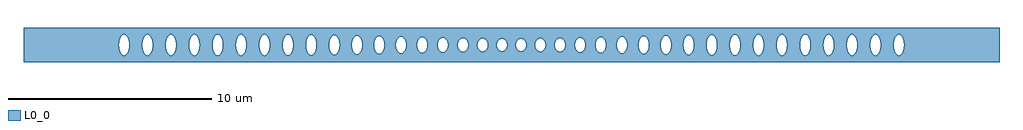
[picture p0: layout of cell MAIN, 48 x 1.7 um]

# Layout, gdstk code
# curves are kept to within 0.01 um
import gdstk
lib = gdstk.Library(unit=1e-6, precision=1e-09)
def P(c, l, *ps):  # polygons
    for p in ps: c.add(gdstk.Polygon(p, *l))
L0_0 = (0, 0)

main = lib.new_cell('MAIN')
P(main, L0_0, [(-19.141,-0.487),(-19.205,-0.417),(-19.262,-0.296),(-19.262,-0.85),(-19.141,-0.85)],
  [(-19.135,0.492),(-19.066,0.52),(-18.987,0.505),(-18.914,0.442),(-18.854,0.337),(-18.854,0.85),(-19.141,0.85)],
  [(-18.854,-0.337),(-18.914,-0.442),(-18.987,-0.505),(-19.066,-0.52),(-19.141,-0.487),(-19.141,-0.85),(-18.854,-0.85)],
  [(24,0.85),(19.262,0.85),(19.262,0.296),(19.295,0.165),(19.308,0.019),(19.297,-0.152),(19.262,-0.296),(19.262,-0.85),(24,-0.85)],
  [(-18.125,0.253),(-18.074,0.384),(-18.002,0.478),(-17.931,0.517),(-17.862,0.515),(-17.862,0.85),(-18.126,0.85)],
  [(-17.862,-0.515),(-17.947,-0.512),(-18.025,-0.455),(-18.083,-0.366),(-18.126,-0.247),(-18.126,-0.85),(-17.862,-0.85)],
  [(-17.648,0.85),(-17.862,0.85),(-17.862,0.515),(-17.777,0.458),(-17.716,0.366),(-17.67,0.236),(-17.648,0.109)],
  [(-17.648,-0.109),(-17.67,-0.236),(-17.716,-0.366),(-17.777,-0.458),(-17.862,-0.515),(-17.862,-0.85),(-17.648,-0.85)],
  [(-18.157,0.006),(-18.126,0.247),(-18.126,0.85),(-18.854,0.85),(-18.854,0.337),(-18.81,0.189),(-18.793,0)],
  [(-16.882,0.445),(-16.812,0.505),(-16.733,0.52),(-16.661,0.49),(-16.594,0.417),(-16.594,0.85),(-16.887,0.85)],
  [(-16.594,-0.417),(-16.661,-0.49),(-16.733,-0.52),(-16.812,-0.505),(-16.887,-0.438),(-16.887,-0.85),(-16.594,-0.85)],
  [(-17.006,0.006),(-16.971,0.264),(-16.887,0.438),(-16.887,0.85),(-17.648,0.85),(-17.642,0)],
  [(-15.844,0.152),(-15.817,0.275),(-15.76,0.405),(-15.694,0.483),(-15.617,0.519),(-15.617,0.85),(-15.845,0.85)],
  [(-15.617,-0.519),(-15.694,-0.483),(-15.76,-0.405),(-15.817,-0.275),(-15.845,-0.146),(-15.845,-0.85),(-15.617,-0.85)],
  [(-15.611,0.52),(-15.541,0.508),(-15.467,0.449),(-15.408,0.352),(-15.363,0.212),(-15.363,0.85),(-15.617,0.85)],
  [(-15.363,-0.212),(-15.408,-0.352),(-15.467,-0.449),(-15.541,-0.508),(-15.617,-0.519),(-15.617,-0.85),(-15.363,-0.85)],
  [(-15.855,0.006),(-15.845,0.85),(-16.594,0.85),(-16.594,0.417),(-16.516,0.224),(-16.491,0)],
  [(-14.626,0.375),(-14.567,0.461),(-14.495,0.512),(-14.415,0.517),(-14.339,0.472),(-14.339,0.85),(-14.628,0.85)],
  [(-14.339,-0.472),(-14.415,-0.517),(-14.495,-0.512),(-14.567,-0.461),(-14.628,-0.37),(-14.628,-0.85),(-14.339,-0.85)],
  [(-14.705,0.006),(-14.685,0.201),(-14.628,0.37),(-14.628,0.85),(-15.363,0.85),(-15.363,0.212),(-15.341,0)],
  [(-13.553,0.045),(-13.539,0.177),(-13.497,0.327),(-13.438,0.435),(-13.369,0.5),(-13.369,0.85),(-13.553,0.85)],
  [(-13.369,-0.5),(-13.438,-0.435),(-13.499,-0.322),(-13.539,-0.177),(-13.553,-0.039),(-13.553,-0.85),(-13.369,-0.85)],
  [(-13.363,0.503),(-13.281,0.52),(-13.209,0.49),(-13.142,0.417),(-13.089,0.307),(-13.089,0.85),(-13.369,0.85)],
  [(-13.089,-0.307),(-13.142,-0.417),(-13.209,-0.49),(-13.296,-0.521),(-13.369,-0.5),(-13.369,-0.85),(-13.089,-0.85)],
  [(-13.554,0.006),(-13.553,0.85),(-14.339,0.85),(-14.339,0.472),(-14.273,0.384),(-14.23,0.28),(-14.198,0.134),(-14.19,0)],
  [(-12.361,0.286),(-12.308,0.405),(-12.242,0.483),(-12.162,0.52),(-12.089,0.508),(-12.089,0.85),(-12.362,0.85)],
  [(-12.089,-0.508),(-12.168,-0.519),(-12.248,-0.478),(-12.308,-0.405),(-12.362,-0.28),(-12.362,-0.85),(-12.089,-0.85)],
  [(-11.891,0.85),(-12.089,0.85),(-12.089,0.508),(-12.023,0.458),(-11.962,0.366),(-11.913,0.224),(-11.891,0.071)],
  [(-11.891,-0.071),(-11.913,-0.224),(-11.962,-0.366),(-12.023,-0.458),(-12.089,-0.508),(-12.089,-0.85),(-11.891,-0.85)],
  [(-12.403,0.006),(-12.394,0.14),(-12.362,0.28),(-12.362,0.85),(-13.089,0.85),(-13.089,0.307),(-13.052,0.165),(-13.039,0)],
  [(-11.11,0.461),(-11.047,0.506),(-10.968,0.514),(-10.888,0.47),(-10.824,0.386),(-10.824,0.85),(-11.116,0.85)],
  [(-10.824,-0.386),(-10.888,-0.47),(-10.968,-0.514),(-11.047,-0.506),(-11.116,-0.456),(-11.116,-0.85),(-10.824,-0.85)],
  [(-11.252,0.006),(-11.22,0.252),(-11.171,0.377),(-11.116,0.456),(-11.116,0.85),(-11.891,0.85),(-11.888,0)],
  [(-10.086,0.192),(-10.045,0.327),(-9.992,0.42),(-9.919,0.486),(-9.835,0.504),(-9.835,0.85),(-10.088,0.85)],
  [(-9.835,-0.504),(-9.919,-0.486),(-9.992,-0.42),(-10.045,-0.327),(-10.088,-0.186),(-10.088,-0.85),(-9.835,-0.85)],
  [(-9.602,0.85),(-9.835,0.85),(-9.835,0.504),(-9.754,0.47),(-9.694,0.405),(-9.636,0.287),(-9.602,0.144)],
  [(-9.602,-0.144),(-9.636,-0.287),(-9.694,-0.405),(-9.754,-0.47),(-9.835,-0.504),(-9.835,-0.85),(-9.602,-0.85)],
  [(-10.106,0.006),(-10.088,0.186),(-10.088,0.85),(-10.824,0.85),(-10.824,0.386),(-10.757,0.2),(-10.737,0)],
  [(-8.856,0.406),(-8.782,0.471),(-8.704,0.488),(-8.62,0.455),(-8.56,0.392),(-8.56,0.85),(-8.862,0.85)],
  [(-8.56,-0.392),(-8.617,-0.453),(-8.704,-0.488),(-8.782,-0.471),(-8.862,-0.399),(-8.862,-0.85),(-8.56,-0.85)],
  [(-8.971,0.006),(-8.937,0.244),(-8.862,0.399),(-8.862,0.85),(-9.602,0.85),(-9.591,0)],
  [(-7.84,0.153),(-7.798,0.291),(-7.742,0.386),(-7.669,0.448),(-7.589,0.466),(-7.589,0.85),(-7.841,0.85)],
  [(-7.589,-0.466),(-7.669,-0.448),(-7.742,-0.386),(-7.798,-0.291),(-7.841,-0.147),(-7.841,-0.85),(-7.589,-0.85)],
  [(-7.347,0.85),(-7.589,0.85),(-7.589,0.466),(-7.498,0.431),(-7.434,0.362),(-7.384,0.264),(-7.347,0.115)],
  [(-7.347,-0.115),(-7.384,-0.264),(-7.434,-0.362),(-7.498,-0.431),(-7.589,-0.466),(-7.589,-0.85),(-7.347,-0.85)],
  [(-7.854,0.003),(-7.841,0.147),(-7.841,0.85),(-8.56,0.85),(-8.56,0.392),(-8.484,0.222),(-8.456,0)],
  [(-6.625,0.389),(-6.561,0.431),(-6.471,0.439),(-6.383,0.392),(-6.317,0.306),(-6.317,0.85),(-6.631,0.85)],
  [(-6.317,-0.306),(-6.383,-0.392),(-6.475,-0.44),(-6.561,-0.431),(-6.631,-0.383),(-6.631,-0.85),(-6.317,-0.85)],
  [(-6.76,0.006),(-6.729,0.211),(-6.686,0.311),(-6.631,0.383),(-6.631,0.85),(-7.347,0.85),(-7.339,0)],
  [(-5.65,0.224),(-5.591,0.33),(-5.519,0.393),(-5.417,0.416),(-5.344,0.391),(-5.344,0.85),(-5.652,0.85)],
  [(-5.344,-0.391),(-5.417,-0.416),(-5.519,-0.393),(-5.591,-0.33),(-5.652,-0.219),(-5.652,-0.85),(-5.344,-0.85)],
  [(-5.691,0.006),(-5.652,0.219),(-5.652,0.85),(-6.317,0.85),(-6.317,0.306),(-6.264,0.168),(-6.245,0)],
  [(-4.645,0.061),(-4.612,0.202),(-4.557,0.299),(-4.478,0.368),(-4.398,0.39),(-4.398,0.85),(-4.646,0.85)],
  [(-4.398,-0.39),(-4.478,-0.368),(-4.56,-0.295),(-4.612,-0.202),(-4.646,-0.056),(-4.646,-0.85),(-4.398,-0.85)],
  [(-4.391,0.391),(-4.308,0.37),(-4.225,0.299),(-4.163,0.182),(-4.138,0.072),(-4.138,0.85),(-4.398,0.85)],
  [(-4.138,-0.072),(-4.163,-0.182),(-4.225,-0.299),(-4.308,-0.37),(-4.398,-0.39),(-4.398,-0.85),(-4.138,-0.85)],
  [(-4.648,0.006),(-4.646,0.85),(-5.344,0.85),(-5.344,0.391),(-5.276,0.33),(-5.226,0.248),(-5.192,0.147),(-5.176,0)],
  [(-3.452,0.35),(-3.363,0.366),(-3.274,0.337),(-3.19,0.254),(-3.143,0.157),(-3.143,0.85),(-3.46,0.85)],
  [(-3.143,-0.157),(-3.19,-0.254),(-3.274,-0.337),(-3.363,-0.366),(-3.46,-0.346),(-3.46,-0.85),(-3.143,-0.85)],
  [(-3.633,0.005),(-3.619,0.122),(-3.579,0.226),(-3.527,0.297),(-3.46,0.346),(-3.46,0.85),(-4.138,0.85),(-4.134,0)],
  [(-2.515,0.299),(-2.431,0.34),(-2.33,0.337),(-2.244,0.288),(-2.177,0.201),(-2.177,0.85),(-2.521,0.85)],
  [(-2.177,-0.201),(-2.244,-0.288),(-2.337,-0.339),(-2.431,-0.34),(-2.521,-0.293),(-2.521,-0.85),(-2.177,-0.85)],
  [(-2.643,0.005),(-2.612,0.166),(-2.521,0.293),(-2.521,0.85),(-3.143,0.85),(-3.143,0.157),(-3.118,0)],
  [(-1.579,0.256),(-1.491,0.315),(-1.399,0.327),(-1.314,0.3),(-1.227,0.219),(-1.227,0.85),(-1.585,0.85)],
  [(-1.227,-0.219),(-1.314,-0.3),(-1.399,-0.327),(-1.491,-0.315),(-1.585,-0.249),(-1.585,-0.85),(-1.227,-0.85)],
  [(-1.676,0.003),(-1.653,0.136),(-1.585,0.249),(-1.585,0.85),(-2.177,0.85),(-2.177,0.201),(-2.14,0.103),(-2.129,0)],
  [(-0.644,0.232),(-0.561,0.296),(-0.453,0.316),(-0.358,0.286),(-0.285,0.222),(-0.285,0.85),(-0.649,0.85)],
  [(-0.285,-0.222),(-0.358,-0.286),(-0.453,-0.316),(-0.561,-0.296),(-0.649,-0.225),(-0.649,-0.85),(-0.285,-0.85)],
  [(-0.726,0.005),(-0.705,0.127),(-0.649,0.225),(-0.649,0.85),(-1.227,0.85),(-1.227,0.219),(-1.18,0.125),(-1.161,0)],
  [(0.288,0.225),(0.358,0.286),(0.453,0.316),(0.561,0.296),(0.647,0.229),(0.647,0.85),(0.285,0.85)],
  [(0.647,-0.229),(0.561,-0.296),(0.453,-0.316),(0.358,-0.286),(0.285,-0.222),(0.285,-0.85),(0.647,-0.85)],
  [(0.212,0.005),(0.231,0.122),(0.285,0.222),(0.285,0.85),(-0.285,0.85),(-0.285,0.222),(-0.228,0.113),(-0.212,0)],
  [(1.229,0.221),(1.312,0.299),(1.397,0.327),(1.493,0.314),(1.581,0.254),(1.581,0.85),(1.226,0.85)],
  [(1.581,-0.254),(1.493,-0.314),(1.397,-0.327),(1.298,-0.29),(1.226,-0.217),(1.226,-0.85),(1.581,-0.85)],
  [(1.161,0.003),(1.175,0.108),(1.226,0.217),(1.226,0.85),(0.647,0.85),(0.647,0.229),(0.705,0.127),(0.726,0)],
  [(2.179,0.205),(2.244,0.288),(2.337,0.339),(2.431,0.34),(2.518,0.296),(2.518,0.85),(2.177,0.85)],
  [(2.518,-0.296),(2.431,-0.34),(2.337,-0.339),(2.244,-0.288),(2.177,-0.201),(2.177,-0.85),(2.518,-0.85)],
  [(2.129,0.005),(2.14,0.103),(2.177,0.201),(2.177,0.85),(1.581,0.85),(1.581,0.254),(1.652,0.139),(1.676,0)],
  [(3.145,0.162),(3.201,0.269),(3.274,0.337),(3.363,0.366),(3.456,0.348),(3.456,0.85),(3.143,0.85)],
  [(3.456,-0.348),(3.363,-0.366),(3.274,-0.337),(3.19,-0.254),(3.143,-0.157),(3.143,-0.85),(3.456,-0.85)],
  [(3.118,0.005),(3.143,0.157),(3.143,0.85),(2.518,0.85),(2.518,0.296),(2.581,0.226),(2.612,0.166),(2.643,0)],
  [(4.139,0.078),(4.163,0.182),(4.225,0.299),(4.308,0.37),(4.395,0.391),(4.395,0.85),(4.138,0.85)],
  [(4.395,-0.391),(4.308,-0.37),(4.225,-0.299),(4.163,-0.182),(4.138,-0.072),(4.138,-0.85),(4.395,-0.85)],
  [(4.646,0.85),(4.395,0.85),(4.395,0.391),(4.478,0.368),(4.56,0.295),(4.612,0.202),(4.646,0.056)],
  [(4.646,-0.056),(4.612,-0.202),(4.56,-0.295),(4.478,-0.368),(4.395,-0.391),(4.395,-0.85),(4.646,-0.85)],
  [(4.134,0.006),(4.138,0.85),(3.456,0.85),(3.456,0.348),(3.521,0.303),(3.579,0.226),(3.619,0.122),(3.633,0)],
  [(5.351,0.395),(5.449,0.416),(5.526,0.389),(5.591,0.33),(5.65,0.224),(5.65,0.85),(5.344,0.85)],
  [(5.65,-0.224),(5.591,-0.33),(5.519,-0.393),(5.417,-0.416),(5.344,-0.391),(5.344,-0.85),(5.65,-0.85)],
  [(5.176,0.006),(5.192,0.147),(5.226,0.248),(5.276,0.33),(5.344,0.391),(5.344,0.85),(4.646,0.85),(4.648,0)],
  [(6.319,0.311),(6.401,0.407),(6.475,0.44),(6.561,0.431),(6.628,0.386),(6.628,0.85),(6.317,0.85)],
  [(6.628,-0.386),(6.561,-0.431),(6.471,-0.439),(6.383,-0.392),(6.317,-0.306),(6.317,-0.85),(6.628,-0.85)],
  [(6.245,0.006),(6.264,0.168),(6.317,0.306),(6.317,0.85),(5.65,0.85),(5.65,0.224),(5.677,0.136),(5.691,0)],
  [(7.348,0.118),(7.376,0.241),(7.438,0.368),(7.499,0.432),(7.584,0.466),(7.584,0.85),(7.347,0.85)],
  [(7.584,-0.466),(7.499,-0.432),(7.438,-0.368),(7.376,-0.241),(7.347,-0.112),(7.347,-0.85),(7.584,-0.85)],
  [(7.591,0.466),(7.671,0.447),(7.743,0.384),(7.801,0.284),(7.841,0.15),(7.841,0.85),(7.584,0.85)],
  [(7.841,-0.15),(7.795,-0.298),(7.735,-0.394),(7.661,-0.452),(7.584,-0.466),(7.584,-0.85),(7.841,-0.85)],
  [(7.339,0.003),(7.347,0.85),(6.628,0.85),(6.628,0.386),(6.686,0.311),(6.729,0.211),(6.76,0)],
  [(8.56,0.392),(8.617,0.453),(8.704,0.488),(8.782,0.471),(8.862,0.399),(8.862,0.85),(8.558,0.85)],
  [(8.862,-0.399),(8.782,-0.471),(8.704,-0.488),(8.617,-0.453),(8.558,-0.388),(8.558,-0.85),(8.862,-0.85)],
  [(8.456,0.006),(8.484,0.222),(8.558,0.388),(8.558,0.85),(7.841,0.85),(7.841,0.15),(7.854,0)],
  [(9.602,0.144),(9.636,0.287),(9.694,0.405),(9.754,0.47),(9.835,0.504),(9.835,0.85),(9.601,0.85)],
  [(9.835,-0.504),(9.754,-0.47),(9.694,-0.405),(9.636,-0.287),(9.601,-0.138),(9.601,-0.85),(9.835,-0.85)],
  [(9.842,0.505),(9.919,0.486),(9.992,0.42),(10.045,0.327),(10.088,0.186),(10.088,0.85),(9.835,0.85)],
  [(10.088,-0.186),(10.045,-0.327),(9.992,-0.42),(9.919,-0.486),(9.835,-0.504),(9.835,-0.85),(10.088,-0.85)],
  [(9.591,0.006),(9.601,0.85),(8.862,0.85),(8.862,0.399),(8.937,0.244),(8.971,0)],
  [(10.824,0.386),(10.888,0.47),(10.968,0.514),(11.047,0.506),(11.116,0.456),(11.116,0.85),(10.821,0.85)],
  [(11.116,-0.456),(11.047,-0.506),(10.968,-0.514),(10.888,-0.47),(10.821,-0.382),(10.821,-0.85),(11.116,-0.85)],
  [(10.737,0.006),(10.757,0.2),(10.821,0.382),(10.821,0.85),(10.088,0.85),(10.088,0.186),(10.106,0)],
  [(11.891,0.071),(11.913,0.224),(11.962,0.366),(12.023,0.458),(12.089,0.508),(12.089,0.85),(11.89,0.85)],
  [(12.089,-0.508),(12.023,-0.458),(11.962,-0.366),(11.913,-0.224),(11.89,-0.064),(11.89,-0.85),(12.089,-0.85)],
  [(12.095,0.51),(12.168,0.519),(12.248,0.478),(12.308,0.405),(12.361,0.286),(12.361,0.85),(12.089,0.85)],
  [(12.361,-0.286),(12.308,-0.405),(12.242,-0.483),(12.162,-0.52),(12.089,-0.508),(12.089,-0.85),(12.361,-0.85)],
  [(11.888,0.006),(11.89,0.85),(11.116,0.85),(11.116,0.456),(11.171,0.377),(11.22,0.252),(11.252,0)],
  [(13.09,0.312),(13.142,0.417),(13.209,0.49),(13.281,0.52),(13.366,0.501),(13.366,0.85),(13.089,0.85)],
  [(13.366,-0.501),(13.281,-0.52),(13.209,-0.49),(13.142,-0.417),(13.089,-0.307),(13.089,-0.85),(13.366,-0.85)],
  [(13.553,0.85),(13.366,0.85),(13.366,0.501),(13.438,0.435),(13.497,0.327),(13.539,0.177),(13.553,0.039)],
  [(13.553,-0.039),(13.539,-0.177),(13.497,-0.327),(13.438,-0.435),(13.366,-0.501),(13.366,-0.85),(13.553,-0.85)],
  [(13.039,0.006),(13.052,0.165),(13.089,0.307),(13.089,0.85),(12.361,0.85),(12.361,0.286),(12.394,0.14),(12.403,0)],
  [(14.342,0.475),(14.415,0.517),(14.495,0.512),(14.567,0.461),(14.628,0.37),(14.628,0.85),(14.336,0.85)],
  [(14.628,-0.37),(14.567,-0.461),(14.495,-0.512),(14.415,-0.517),(14.336,-0.47),(14.336,-0.85),(14.628,-0.85)],
  [(14.19,0.006),(14.198,0.134),(14.23,0.28),(14.273,0.384),(14.336,0.47),(14.336,0.85),(13.553,0.85),(13.554,0)],
  [(15.364,0.218),(15.408,0.352),(15.467,0.449),(15.541,0.508),(15.614,0.52),(15.614,0.85),(15.363,0.85)],
  [(15.614,-0.52),(15.541,-0.508),(15.467,-0.449),(15.408,-0.352),(15.363,-0.212),(15.363,-0.85),(15.614,-0.85)],
  [(15.845,0.85),(15.614,0.85),(15.614,0.52),(15.694,0.483),(15.76,0.405),(15.817,0.275),(15.845,0.146)],
  [(15.845,-0.146),(15.817,-0.275),(15.76,-0.405),(15.694,-0.483),(15.614,-0.52),(15.614,-0.85),(15.845,-0.85)],
  [(15.341,0.006),(15.363,0.212),(15.363,0.85),(14.628,0.85),(14.628,0.37),(14.685,0.201),(14.705,0)],
  [(16.594,0.417),(16.661,0.49),(16.733,0.52),(16.812,0.505),(16.887,0.438),(16.887,0.85),(16.592,0.85)],
  [(16.887,-0.438),(16.812,-0.505),(16.733,-0.52),(16.661,-0.49),(16.592,-0.413),(16.592,-0.85),(16.887,-0.85)],
  [(16.491,0.006),(16.516,0.224),(16.592,0.413),(16.592,0.85),(15.845,0.85),(15.855,0)],
  [(17.648,0.109),(17.67,0.236),(17.716,0.366),(17.777,0.458),(17.862,0.515),(17.862,0.85),(17.647,0.85)],
  [(17.862,-0.515),(17.777,-0.458),(17.716,-0.366),(17.67,-0.236),(17.647,-0.102),(17.647,-0.85),(17.862,-0.85)],
  [(17.868,0.517),(17.947,0.512),(18.025,0.455),(18.083,0.366),(18.125,0.253),(18.125,0.85),(17.862,0.85)],
  [(18.125,-0.253),(18.074,-0.384),(18.002,-0.478),(17.931,-0.517),(17.862,-0.515),(17.862,-0.85),(18.125,-0.85)],
  [(17.642,0.006),(17.647,0.85),(16.887,0.85),(16.887,0.438),(16.939,0.352),(16.974,0.253),(17.006,0)],
  [(18.856,0.342),(18.914,0.442),(18.987,0.505),(19.066,0.52),(19.138,0.49),(19.138,0.85),(18.854,0.85)],
  [(19.138,-0.49),(19.066,-0.52),(18.987,-0.505),(18.914,-0.442),(18.854,-0.337),(18.854,-0.85),(19.138,-0.85)],
  [(-19.262,-0.296),(-19.295,-0.165),(-19.308,-0.019),(-19.297,0.152),(-19.262,0.296),(-19.262,0.85),(-24,0.85),(-24,-0.85),(-19.262,-0.85)],
  [(-19.26,0.302),(-19.205,0.417),(-19.141,0.487),(-19.141,0.85),(-19.262,0.85)],
  [(19.262,0.85),(19.138,0.85),(19.138,0.49),(19.205,0.417),(19.262,0.296)],
  [(19.262,-0.296),(19.205,-0.417),(19.138,-0.49),(19.138,-0.85),(19.262,-0.85)],
  [(-18.126,-0.247),(-18.157,0),(-18.793,0),(-18.81,-0.189),(-18.854,-0.337),(-18.854,-0.85),(-18.126,-0.85)],
  [(-16.887,-0.438),(-16.939,-0.352),(-16.974,-0.253),(-17.006,0),(-17.642,0),(-17.648,-0.85),(-16.887,-0.85)],
  [(-15.845,-0.146),(-15.855,0),(-16.491,0),(-16.516,-0.224),(-16.594,-0.417),(-16.594,-0.85),(-15.845,-0.85)],
  [(-14.628,-0.37),(-14.685,-0.201),(-14.705,0),(-15.341,0),(-15.363,-0.212),(-15.363,-0.85),(-14.628,-0.85)],
  [(-13.553,-0.039),(-13.554,0),(-14.19,0),(-14.198,-0.134),(-14.23,-0.28),(-14.273,-0.384),(-14.339,-0.472),(-14.339,-0.85),(-13.553,-0.85)],
  [(-12.362,-0.28),(-12.394,-0.14),(-12.403,0),(-13.039,0),(-13.052,-0.165),(-13.089,-0.307),(-13.089,-0.85),(-12.362,-0.85)],
  [(-11.116,-0.456),(-11.171,-0.377),(-11.22,-0.252),(-11.252,0),(-11.888,0),(-11.891,-0.85),(-11.116,-0.85)],
  [(-10.088,-0.186),(-10.106,0),(-10.737,0),(-10.757,-0.2),(-10.824,-0.386),(-10.824,-0.85),(-10.088,-0.85)],
  [(-8.862,-0.399),(-8.937,-0.244),(-8.971,0),(-9.591,0),(-9.602,-0.85),(-8.862,-0.85)],
  [(-7.841,-0.147),(-7.854,0),(-8.456,0),(-8.484,-0.222),(-8.56,-0.392),(-8.56,-0.85),(-7.841,-0.85)],
  [(-6.631,-0.383),(-6.686,-0.311),(-6.729,-0.211),(-6.76,0),(-7.339,0),(-7.347,-0.85),(-6.631,-0.85)],
  [(-5.652,-0.219),(-5.683,-0.103),(-5.691,0),(-6.245,0),(-6.26,-0.151),(-6.317,-0.306),(-6.317,-0.85),(-5.652,-0.85)],
  [(-4.646,-0.056),(-4.648,0),(-5.176,0),(-5.192,-0.147),(-5.226,-0.248),(-5.276,-0.33),(-5.344,-0.391),(-5.344,-0.85),(-4.646,-0.85)],
  [(-3.46,-0.346),(-3.527,-0.297),(-3.579,-0.226),(-3.619,-0.122),(-3.633,0),(-4.134,0),(-4.138,-0.85),(-3.46,-0.85)],
  [(-2.521,-0.293),(-2.612,-0.166),(-2.643,0),(-3.118,0),(-3.143,-0.157),(-3.143,-0.85),(-2.521,-0.85)],
  [(-1.585,-0.249),(-1.653,-0.136),(-1.676,0),(-2.129,0),(-2.14,-0.103),(-2.177,-0.201),(-2.177,-0.85),(-1.585,-0.85)],
  [(-0.649,-0.225),(-0.705,-0.127),(-0.726,0),(-1.161,0),(-1.18,-0.125),(-1.227,-0.219),(-1.227,-0.85),(-0.649,-0.85)],
  [(0.285,-0.222),(0.228,-0.113),(0.212,0),(-0.212,0),(-0.228,-0.113),(-0.285,-0.222),(-0.285,-0.85),(0.285,-0.85)],
  [(1.226,-0.217),(1.175,-0.108),(1.161,0),(0.726,0),(0.705,-0.127),(0.647,-0.229),(0.647,-0.85),(1.226,-0.85)],
  [(2.177,-0.201),(2.14,-0.103),(2.129,0),(1.676,0),(1.652,-0.139),(1.581,-0.254),(1.581,-0.85),(2.177,-0.85)],
  [(3.143,-0.157),(3.118,0),(2.643,0),(2.612,-0.166),(2.581,-0.226),(2.518,-0.296),(2.518,-0.85),(3.143,-0.85)],
  [(4.138,-0.072),(4.134,0),(3.633,0),(3.619,-0.122),(3.579,-0.226),(3.521,-0.303),(3.456,-0.348),(3.456,-0.85),(4.138,-0.85)],
  [(5.344,-0.391),(5.276,-0.33),(5.226,-0.248),(5.192,-0.147),(5.176,0),(4.648,0),(4.646,-0.85),(5.344,-0.85)],
  [(6.317,-0.306),(6.264,-0.168),(6.245,0),(5.691,0),(5.677,-0.136),(5.65,-0.224),(5.65,-0.85),(6.317,-0.85)],
  [(7.347,-0.112),(7.339,0),(6.76,0),(6.729,-0.211),(6.686,-0.311),(6.628,-0.386),(6.628,-0.85),(7.347,-0.85)],
  [(8.558,-0.388),(8.484,-0.222),(8.456,0),(7.854,0),(7.841,-0.15),(7.841,-0.85),(8.558,-0.85)],
  [(9.601,-0.138),(9.591,0),(8.971,0),(8.937,-0.244),(8.862,-0.399),(8.862,-0.85),(9.601,-0.85)],
  [(10.821,-0.382),(10.757,-0.2),(10.737,0),(10.106,0),(10.088,-0.186),(10.088,-0.85),(10.821,-0.85)],
  [(11.89,-0.064),(11.888,0),(11.252,0),(11.22,-0.252),(11.171,-0.377),(11.116,-0.456),(11.116,-0.85),(11.89,-0.85)],
  [(13.089,-0.307),(13.052,-0.165),(13.039,0),(12.403,0),(12.394,-0.14),(12.361,-0.286),(12.361,-0.85),(13.089,-0.85)],
  [(14.336,-0.47),(14.273,-0.384),(14.225,-0.264),(14.19,0),(13.554,0),(13.553,-0.85),(14.336,-0.85)],
  [(15.363,-0.212),(15.341,0),(14.705,0),(14.685,-0.201),(14.628,-0.37),(14.628,-0.85),(15.363,-0.85)],
  [(16.592,-0.413),(16.516,-0.224),(16.491,0),(15.855,0),(15.845,-0.85),(16.592,-0.85)],
  [(17.647,-0.102),(17.642,0),(17.006,0),(16.974,-0.253),(16.939,-0.352),(16.887,-0.438),(16.887,-0.85),(17.647,-0.85)],
  [(18.854,-0.337),(18.81,-0.189),(18.793,0),(18.157,0),(18.125,-0.253),(18.125,-0.85),(18.854,-0.85)],
  [(18.793,0.006),(18.81,0.189),(18.854,0.337),(18.854,0.85),(18.125,0.85),(18.125,0.253),(18.157,0)])

lib.write_gds('MAIN.gds')
